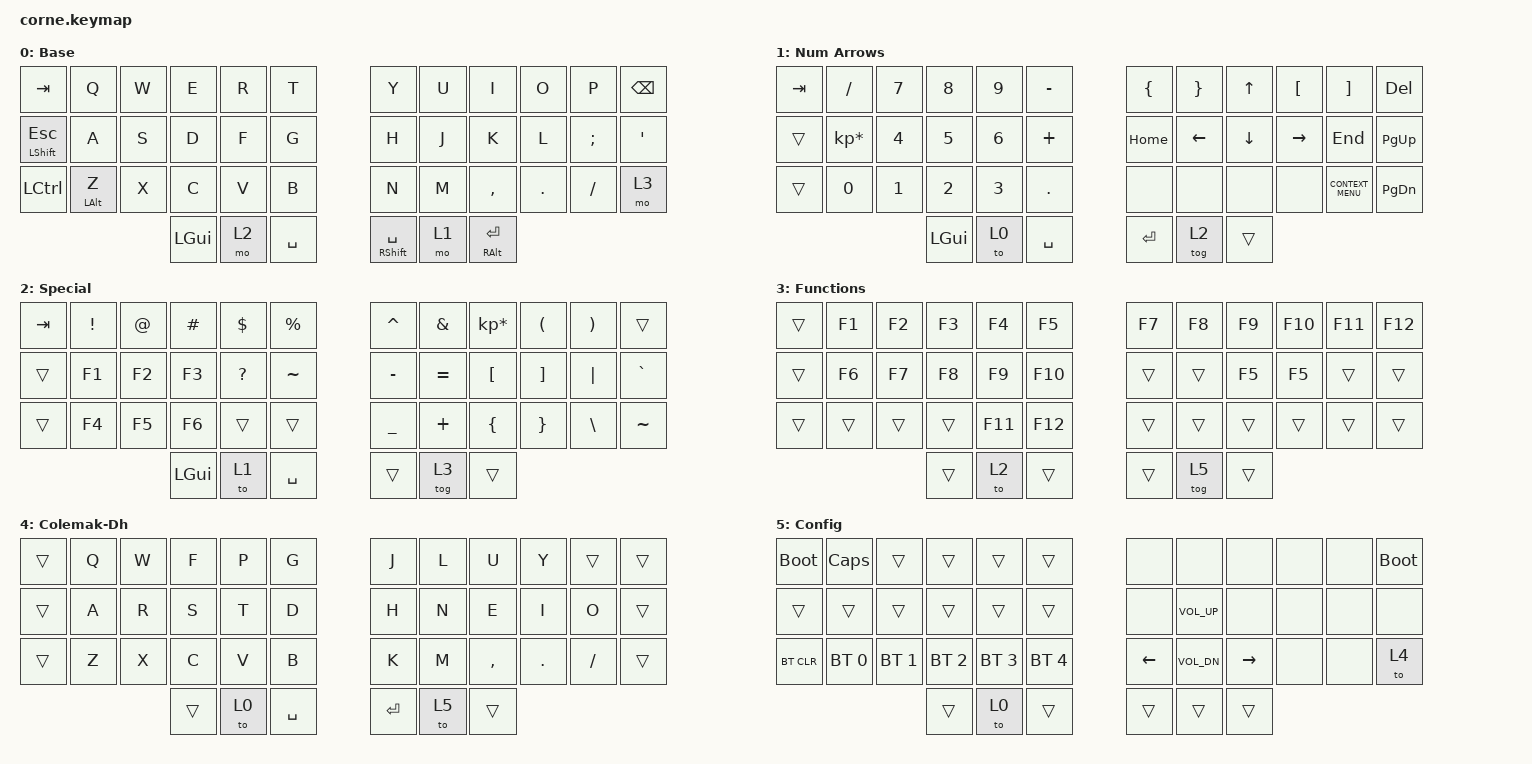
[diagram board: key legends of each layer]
/*
 * Copyright (c) 2020 The ZMK Contributors
 *
 * SPDX-License-Identifier: MIT
 */

#include <behaviors.dtsi>
#include <dt-bindings/zmk/bt.h>
#include <dt-bindings/zmk/keys.h>

/ {
    combos {
        compatible = "zmk,combos";

        delete {
            bindings = <&kp DELETE>;
            key-positions = <10 11>;
        };

        bt1 {
            bindings = <&bt BT_SEL 0>;
            key-positions = <25 1>;
        };

        bt2 {
            bindings = <&bt BT_SEL 1>;
            key-positions = <26 2>;
        };

        bt3 {
            bindings = <&bt BT_SEL 2>;
            key-positions = <27 3>;
        };

        fn_audio_out {
            bindings = <&macro_audioout>;
            key-positions = <11 40>;
        };

        fn_no_camera {
            bindings = <&macro_no_camera>;
            key-positions = <10 40>;
        };

        fn_mute {
            bindings = <&macro_mute>;
            key-positions = <9 40>;
        };

        toLayer1 {
            bindings = <&to 1>;
            key-positions = <40 41>;
        };
    };

    macros {
        macro_audioout: macro_audioout {
            compatible = "zmk,behavior-macro";
            #binding-cells = <0>;
            bindings = <&none &kp LC(LG(V))>;
            label = "MACRO_AUDIOOUT";
        };

        macro_mute: macro_mute {
            compatible = "zmk,behavior-macro";
            #binding-cells = <0>;
            bindings = <&none &kp LC(LS(M))>;
            label = "MACRO_MUTE";
        };

        macro_no_camera: macro_no_camera {
            compatible = "zmk,behavior-macro";
            #binding-cells = <0>;
            bindings = <&none &kp LC(LS(O))>;
            label = "MACRO_NO_CAMERA";
        };

        macro_base_layer: macro_base_layer {
            compatible = "zmk,behavior-macro";
            #binding-cells = <0>;
            bindings = <&none &to 0>;
            label = "MACRO_BASE_LAYER";
        };
    };

    behaviors {
        layerTapHold: layerTapHold {
            compatible = "zmk,behavior-hold-tap";
            label = "LAYERTAPHOLD";
            bindings = <&mo>, <&to>;

            #binding-cells = <2>;
            tapping-term-ms = <200>;
        };

        tapKeyPressHoldMomLayer: tapKeyPressHoldMomLayer {
            compatible = "zmk,behavior-hold-tap";
            label = "TAPKEYPRESSHOLDMOMLAYER";
            bindings = <&mo>, <&kp>;

            #binding-cells = <2>;
            tapping-term-ms = <200>;
        };

        longerMT: longerMT {
            compatible = "zmk,behavior-hold-tap";
            label = "LONGERMT";
            bindings = <&kp>, <&kp>;

            #binding-cells = <2>;
            tapping-term-ms = <350>;
        };
    };

    keymap {
        compatible = "zmk,keymap";

        base_layer {
            // -----------------------------------------------------------------------------------------
            // |  TAB |  Q  |  W  |  E  |  R  |  T  |   |  Y  |  U   |  I  |  O  |  P  | BKSP |
            // | CTRL |  A  |  S  |  D  |  F  |  G  |   |  H  |  J   |  K  |  L  |  ;  |  '   |
            // | SHFT |  Z  |  X  |  C  |  V  |  B  |   |  N  |  M   |  ,  |  .  |  /  | ESC  |
            //                    | GUI | LWR | SPC |   | ENT | RSE  | ALT |

            display-name = "Base";
            bindings = <
&kp TAB                &kp Q                 &kp W  &kp E     &kp R  &kp T        &kp Y                  &kp U  &kp I                &kp O    &kp P     &kp BSPC
&mt LEFT_SHIFT ESCAPE  &kp A                 &kp S  &kp D     &kp F  &kp G        &kp H                  &kp J  &kp K                &kp L    &kp SEMI  &kp SQT
&kp LCTRL              &longerMT LEFT_ALT Z  &kp X  &kp C     &kp V  &kp B        &kp N                  &kp M  &kp COMMA            &kp DOT  &kp FSLH  &mo 3
                                                    &kp LGUI  &mo 2  &kp SPACE    &mt RIGHT_SHIFT SPACE  &mo 1  &mt RIGHT_ALT ENTER
            >;
        };

        lower_layer {
            // -----------------------------------------------------------------------------------------
            // |  TAB |  1  |  2  |  3  |  4  |  5  |   |  6  |  7  |  8  |  9  |  0  | BKSP |
            // | BTCLR| BT1 | BT2 | BT3 | BT4 | BT5 |   | LFT | DWN |  UP | RGT |     |      |
            // | SHFT |     |     |     |     |     |   |     |     |     |     |     |      |
            //                    | GUI |     | SPC |   | ENT |     | ALT |

            display-name = "Num Arrows";
            bindings = <
&kp TAB  &kp SLASH        &kp NUMBER_7  &kp N8        &kp N9        &kp MINUS     &kp LEFT_BRACE  &kp RIGHT_BRACE  &kp UP          &kp LEFT_BRACKET  &kp RIGHT_BRACKET   &kp DEL
&trans   &kp KP_MULTIPLY  &kp NUMBER_4  &kp NUMBER_5  &kp NUMBER_6  &kp PLUS      &kp HOME        &kp LEFT_ARROW   &kp DOWN_ARROW  &kp RIGHT         &kp END             &kp PAGE_UP
&trans   &kp NUMBER_0     &kp NUMBER_1  &kp NUMBER_2  &kp NUMBER_3  &kp PERIOD    &none           &none            &none           &none             &kp K_CONTEXT_MENU  &kp PAGE_DOWN
                                        &kp LGUI      &to 0         &kp SPACE     &kp ENTER       &tog 2           &trans
            >;
        };

        raise_layer {
            // -----------------------------------------------------------------------------------------
            // |  TAB |  !  |  @  |  #  |  $  |  %  |   |  ^  |  &  |  *  |  (  |  )  | BKSP |
            // | CTRL |     |     |     |     |     |   |  -  |  =  |  [  |  ]  |  \  |  `   |
            // | SHFT |     |     |     |     |     |   |  _  |  +  |  {  |  }  | "|" |  ~   |
            //                    | GUI |     | SPC |   | ENT |     | ALT |

            display-name = "Special";
            bindings = <
&kp TAB  &kp EXCL  &kp AT  &kp HASH  &kp DLLR      &kp PRCNT    &kp CARET  &kp AMPS   &kp KP_MULTIPLY  &kp LPAR  &kp RPAR       &trans
&trans   &kp F1    &kp F2  &kp F3    &kp QUESTION  &kp TILDE    &kp MINUS  &kp EQUAL  &kp LBKT         &kp RBKT  &kp PIPE       &kp GRAVE
&trans   &kp F4    &kp F5  &kp F6    &trans        &trans       &kp UNDER  &kp PLUS   &kp LBRC         &kp RBRC  &kp BACKSLASH  &kp TILDE
                           &kp LGUI  &to 1         &kp SPACE    &trans     &tog 3     &trans
            >;
        };

        functions {
            bindings = <
&trans  &kp F1  &kp F2  &kp F3  &kp F4   &kp F5     &kp F7  &kp F8  &kp F9  &kp F10  &kp F11  &kp F12
&trans  &kp F6  &kp F7  &kp F8  &kp F9   &kp F10    &trans  &trans  &kp F5  &kp F5   &trans   &trans
&trans  &trans  &trans  &trans  &kp F11  &kp F12    &trans  &trans  &trans  &trans   &trans   &trans
                        &trans  &to 2    &trans     &trans  &tog 5  &trans
            >;

            label = "Functions";
        };

        colemakdh {
            bindings = <
&trans  &kp Q  &kp W  &kp F   &kp P  &kp G        &kp J      &kp L  &kp U      &kp Y    &trans    &trans
&trans  &kp A  &kp R  &kp S   &kp T  &kp D        &kp H      &kp N  &kp E      &kp I    &kp O     &trans
&trans  &kp Z  &kp X  &kp C   &kp V  &kp B        &kp K      &kp M  &kp COMMA  &kp DOT  &kp FSLH  &trans
                      &trans  &to 0  &kp SPACE    &kp ENTER  &to 5  &trans
            >;

            label = "Colemak-Dh";
        };

        config {
            bindings = <
&bootloader  &kp CLCK      &trans        &trans        &trans        &trans          &none           &none            &none      &none  &none  &bootloader
&trans       &trans        &trans        &trans        &trans        &trans          &none           &kp C_VOLUME_UP  &none      &none  &none  &none
&bt BT_CLR   &bt BT_SEL 0  &bt BT_SEL 1  &bt BT_SEL 2  &bt BT_SEL 3  &bt BT_SEL 4    &kp LEFT_ARROW  &kp C_VOL_DN     &kp RIGHT  &none  &none  &to 4
                                         &trans        &to 0         &trans          &trans          &trans           &trans
            >;

            label = "Config";
        };
    };
};
